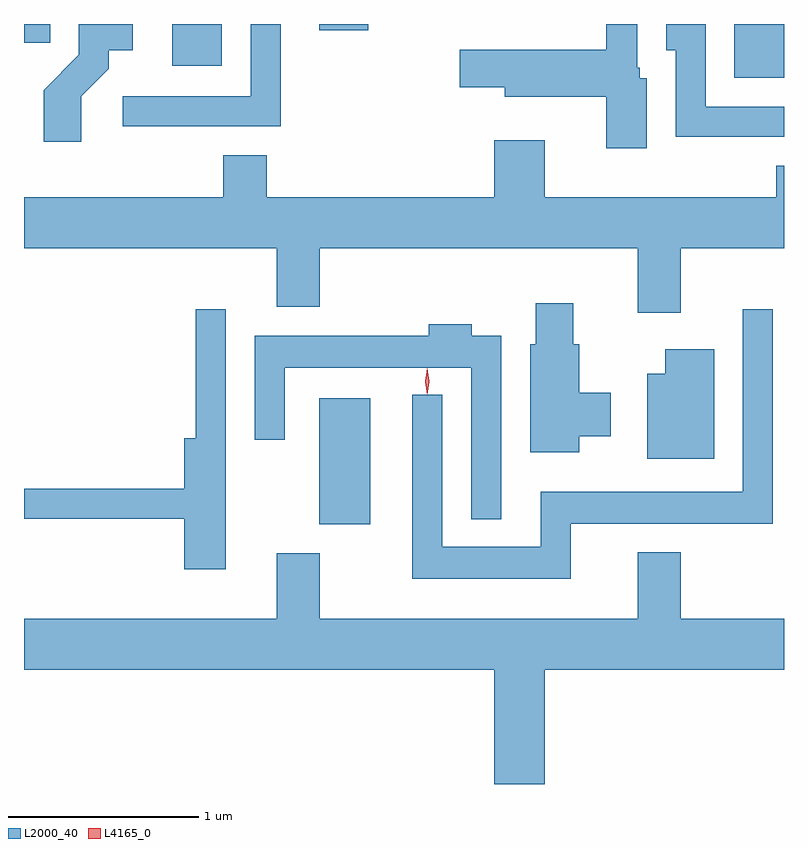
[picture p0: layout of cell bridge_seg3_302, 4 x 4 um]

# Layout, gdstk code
import gdstk
lib = gdstk.Library(unit=1e-6, precision=1e-09)
def R(c, l, rs):  # rectangles x0, y0, x1, y1
    for r in rs: c.add(gdstk.rectangle(r[:2], r[2:], *l))
def P(c, l, *ps):  # polygons
    for p in ps: c.add(gdstk.Polygon(p, *l))
L2000_40 = (2000, 40)
L4165_0 = (4165, 0)

bridge_seg3_302 = lib.new_cell('bridge_seg3_302')
R(bridge_seg3_302, L2000_40, [(573.796,1164.521,574.064,1165.184), (575.981,1166.871,576.242,1167.155), (573.021,1166.936,573.284,1167.155), (572.242,1167.056,572.379,1167.155), (573.796,1167.121,574.054,1167.155)])
P(bridge_seg3_302, L2000_40, [(572.544,1166.774),(572.689,1166.919),(572.689,1167.016),(572.814,1167.016),(572.814,1167.155),(572.531,1167.155),(572.531,1166.992),(572.346,1166.807),(572.346,1166.536),(572.544,1166.536)],
  [(575.519,1166.869),(575.484,1166.869),(575.484,1166.925),(575.469,1166.925),(575.469,1167.155),(575.306,1167.155),(575.306,1167.019),(574.536,1167.019),(574.536,1166.821),(574.771,1166.821),(574.771,1166.771),(575.306,1166.771),(575.306,1166.501),(575.519,1166.501)],
  [(573.594,1167.155),(573.436,1167.155),(573.436,1166.774),(572.763,1166.774),(572.763,1166.616),(573.594,1166.616)],
  [(576.242,1166.719),(575.829,1166.719),(575.829,1167.155),(575.621,1167.155),(575.621,1167.016),(575.671,1167.016),(575.671,1166.561),(576.242,1166.561)],
  [(575.699,1165.976),(576.242,1165.976),(576.242,1166.409),(576.201,1166.409),(576.201,1166.244),(574.984,1166.244),(574.984,1166.544),(574.716,1166.544),(574.716,1166.244),(573.519,1166.244),(573.519,1166.464),(573.291,1166.464),(573.291,1166.244),(572.242,1166.244),(572.242,1165.976),(573.571,1165.976),(573.571,1165.666),(573.799,1165.666),(573.799,1165.976),(575.471,1165.976),(575.471,1165.636),(575.699,1165.636)],
  [(575.164,1164.986),(575.329,1164.986),(575.329,1165.214),(575.164,1165.214),(575.164,1165.469),(575.134,1165.469),(575.134,1165.684),(574.936,1165.684),(574.936,1165.469),(574.906,1165.469),(574.906,1164.901),(575.164,1164.901)],
  [(573.304,1165.653),(573.146,1165.653),(573.146,1164.974),(573.086,1164.974),(573.086,1164.709),(572.242,1164.709),(572.242,1164.551),(573.086,1164.551),(573.086,1164.286),(573.304,1164.286)],
  [(575.119,1164.526),(576.184,1164.526),(576.184,1165.653),(576.026,1165.653),(576.026,1164.694),(574.961,1164.694),(574.961,1164.404),(574.444,1164.404),(574.444,1165.203),(574.286,1165.203),(574.286,1164.236),(575.119,1164.236)],
  [(574.754,1165.514),(574.599,1165.514),(574.599,1165.574),(574.371,1165.574),(574.371,1165.514),(573.456,1165.514),(573.456,1164.968),(573.614,1164.968),(573.614,1165.346),(574.596,1165.346),(574.596,1164.548),(574.754,1164.548)],
  [(575.874,1165.444),(575.616,1165.444),(575.616,1165.314),(575.521,1165.314),(575.521,1164.866),(575.874,1164.866)],
  [(574.984,1163.756),(576.242,1163.756),(576.242,1164.024),(575.699,1164.024),(575.699,1164.374),(575.471,1164.374),(575.471,1164.024),(573.799,1164.024),(573.799,1164.369),(573.571,1164.369),(573.571,1164.024),(572.242,1164.024),(572.242,1163.756),(574.716,1163.756),(574.716,1163.155),(574.984,1163.155)])
P(bridge_seg3_302, L4165_0, [(574.364,1165.207),(574.364,1165.207),(574.354,1165.274),(574.364,1165.34),(574.364,1165.34),(574.365,1165.34),(574.374,1165.274),(574.365,1165.207)],
  [(574.364,1165.204),(574.355,1165.273),(574.364,1165.342),(574.365,1165.343),(574.365,1165.342),(574.375,1165.273),(574.365,1165.204),(574.365,1165.204)])

lib.write_gds('bridge_seg3_302.gds')
